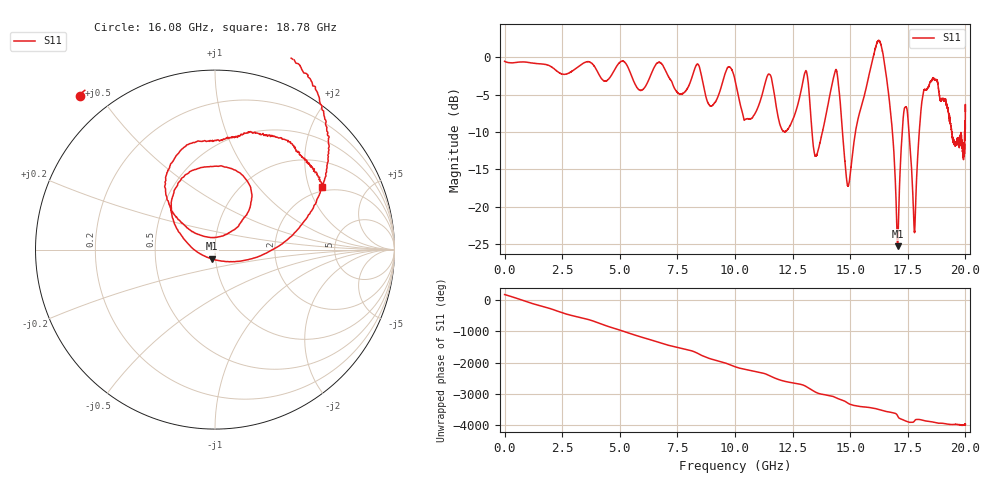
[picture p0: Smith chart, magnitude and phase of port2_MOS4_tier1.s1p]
! Created with skrf 1.8.0 (http://scikit-rf.org).
# GHz S RI R 50.0
!freq ReS11 ImS11
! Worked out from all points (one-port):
!   10001 points, 1 MHz to 20 GHz, reference 50 ohm
!   lowest |S11| = -25.3 dB at 17.06 GHz (marker M1), VSWR 1.11, Z = 48 - j4.93 ohm
!   |S11| at or under -10 dB: 13.34 GHz to 13.79 GHz (450.3 MHz wide, 3.32 % of centre); 14.66 GHz to 15.23 GHz (562.5 MHz wide, 3.76 % of centre); 19.41 GHz to 19.97 GHz (557.3 MHz wide, 2.83 % of centre) (the widest 3 of 7)
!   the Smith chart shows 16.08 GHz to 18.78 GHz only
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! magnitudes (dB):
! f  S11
! 1 MHz  -0.5
! 2.501 GHz  -2.2
! 5.001 GHz  -0.6
! 6.759 GHz  -0.7
! 7.501 GHz  -4.7
! 8.359 GHz  -0.9
! 8.939 GHz  -6.5
! 10 GHz  -3.0
! 10.45 GHz  -8.3
! 11.48 GHz  -2.2
! 12.02 GHz  -9.6
! 12.5 GHz  -8.4
! 13.08 GHz  -1.8
! 13.54 GHz  -13.1
! 14.38 GHz  -1.7
! 14.84 GHz  -16.1
! 15 GHz  -15.7
! 16.26 GHz  2.2
! 16.71 GHz  -6.2
! 17.06 GHz  -25.3
! 17.31 GHz  -7.8
! 17.5 GHz  -7.9
! 17.78 GHz  -23.3
! 18.07 GHz  -7.4
! 18.26 GHz  -4.4
! 18.72 GHz  -3.0
! 19.53 GHz  -11.5
! 20 GHz  -7.2
